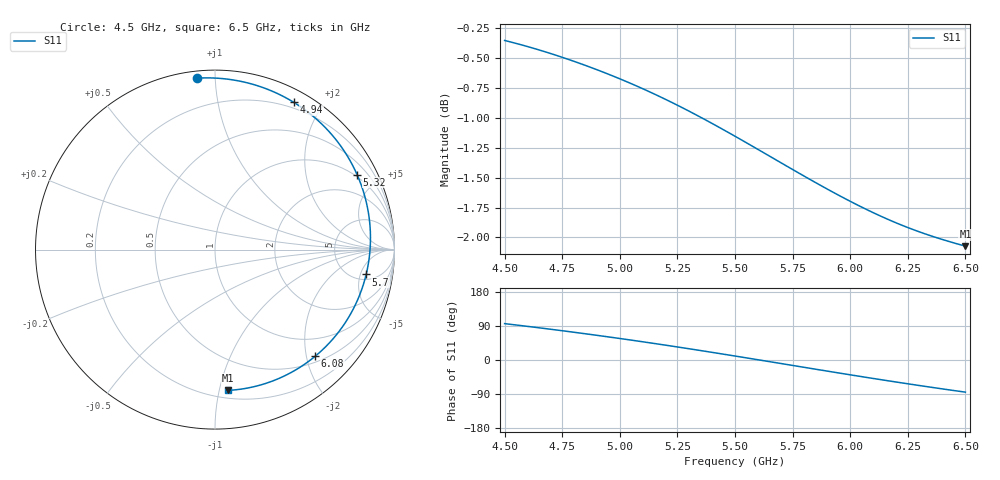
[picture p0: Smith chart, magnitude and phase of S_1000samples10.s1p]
! TOUCHSTONE file generated by CST MICROWAVE STUDIO
! Date and time: Wed Oct 26 16:36:35 2022
! Project name: L.cst
! Parameters = {Di=1.27; Epsilon_r=1.56; InnerDiameter=1.27; Length=2; Lf=10; Lg=60; OuterConductorThickness=0.2921; OuterDiameter=3.6; Wf=3; Wp=41.2; de=1.5; df=6.8; g=0.8; gx=3.15492; gy=4.31454; h=2.34; hf=1.524; px=10.5723; py=9.16354; w=9.7; wx=7.41737; wy=4.84901}
! Header version: 2018
! Port assignment regex: !\s*Touchstone port\s*([0-9]+)\s*=\s*(CST MWS port|CST DS port)\s*([0-9]+|Zmin|Zmax)\s*\(\"(.*)\"\)(\s*mode\s*([0-9]+))?.*
! Touchstone port assignment:
! Touchstone port 1 = CST MWS port 1 ("")
# GHz S DB R 50
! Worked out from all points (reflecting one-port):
!   101 points, 4.5 GHz to 6.5 GHz, reference 50 ohm
!   lowest |S11| = -2.1 dB at 6.5 GHz (marker M1), VSWR 8.42, Z = 12.8 - j53 ohm
!   phase of S11 starts at 96 deg and turns -181 deg over the sweep
!   S11 on the Smith chart (normalised r, x): 4.5 GHz: 0.04, +0.90; 4.94 GHz: 0.14, +1.66; 5.32 GHz: 0.91, +3.83; 5.7 GHz: 6.16, -6.28; 6.08 GHz: 0.61, -2.17; 6.5 GHz: 0.26, -1.06
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4.5  -0.35 96.0
4.58  -0.39 90.2
4.64  -0.43 85.7
4.7  -0.46 81.1
4.76  -0.50 76.5
4.86  -0.57 68.5
4.94  -0.63 61.8
5  -0.67 56.7
5.06  -0.72 51.5
5.12  -0.77 46.2
5.2  -0.85 39.0
5.26  -0.90 33.5
5.32  -0.96 27.8
5.42  -1.07 18.3
5.5  -1.15 10.5
5.6  -1.26 0.6
5.7  -1.38 -9.3
5.76  -1.44 -15.3
5.82  -1.51 -21.3
5.88  -1.57 -27.3
6  -1.70 -39.1
6.08  -1.77 -46.8
6.16  -1.85 -54.4
6.26  -1.93 -63.7
6.32  -1.97 -69.1
6.38  -2.01 -74.5
6.44  -2.04 -79.7
6.5  -2.07 -84.8
